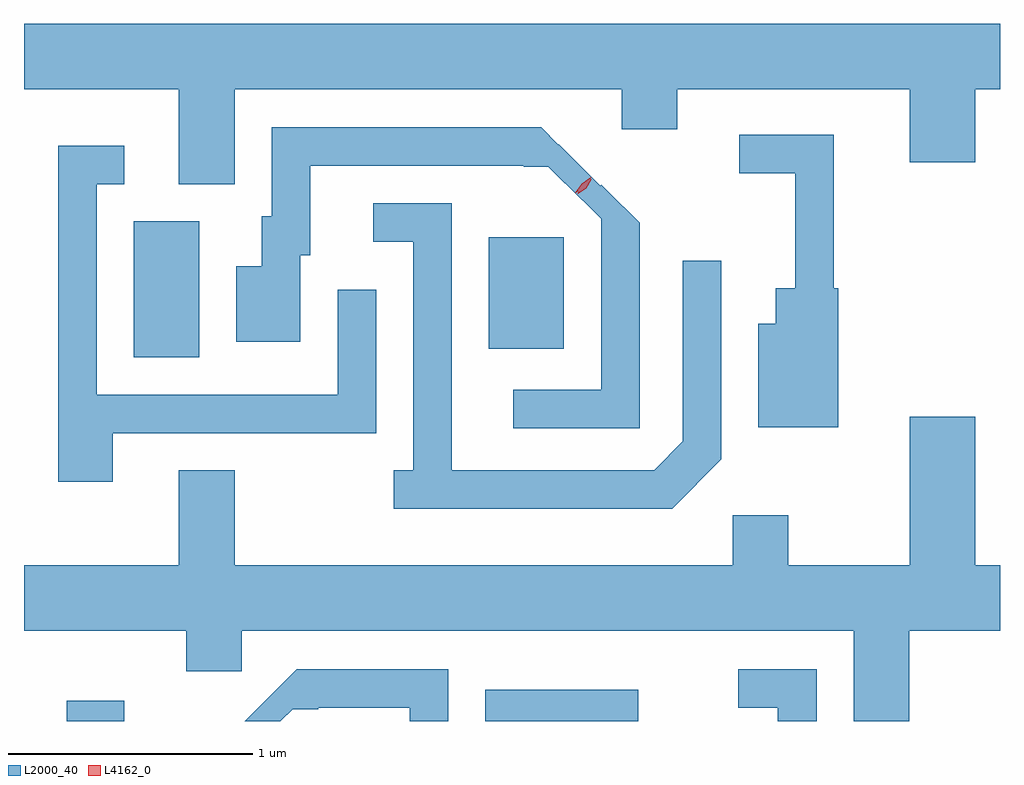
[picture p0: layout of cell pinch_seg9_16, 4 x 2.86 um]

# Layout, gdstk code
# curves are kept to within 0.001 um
import gdstk
lib = gdstk.Library(unit=1e-6, precision=1e-09)
def R(c, l, rs):  # rectangles x0, y0, x1, y1
    for r in rs: c.add(gdstk.rectangle(r[:2], r[2:], *l))
def P(c, l, *ps):  # polygons
    for p in ps: c.add(gdstk.Polygon(p, *l))
L2000_40 = (2000, 40)
L4162_0 = (4162, 0)

pinch_seg9_16 = lib.new_cell('pinch_seg9_16')
R(pinch_seg9_16, L2000_40, [(1030.801,2011.425,1031.037,2011.509), (1032.516,2011.425,1033.144,2011.554), (1031.076,2012.916,1031.344,2013.474), (1032.531,2012.951,1032.839,2013.409)])
P(pinch_seg9_16, L2000_40, [(1031.489,2014.016),(1033.076,2014.016),(1033.076,2013.851),(1033.304,2013.851),(1033.304,2014.016),(1034.256,2014.016),(1034.256,2013.716),(1034.524,2013.716),(1034.524,2014.016),(1034.626,2014.016),(1034.626,2014.284),(1030.626,2014.284),(1030.626,2014.016),(1031.261,2014.016),(1031.261,2013.626),(1031.489,2013.626)],
  [(1033.149,2013.469),(1033.085,2013.533),(1033.083,2013.532),(1032.992,2013.623),(1032.987,2013.619),(1032.745,2013.859),(1031.641,2013.859),(1031.641,2013.494),(1031.601,2013.494),(1031.601,2013.289),(1031.496,2013.289),(1031.496,2012.981),(1031.759,2012.981),(1031.759,2013.336),(1031.799,2013.336),(1031.799,2013.701),(1032.675,2013.701),(1032.675,2013.697),(1032.775,2013.697),(1032.842,2013.63),(1032.843,2013.632),(1032.992,2013.484),(1032.991,2012.784),(1032.632,2012.784),(1032.632,2012.626),(1033.149,2012.626)],
  [(1033.964,2013.199),(1033.944,2013.199),(1033.944,2013.829),(1033.558,2013.829),(1033.558,2013.671),(1033.786,2013.671),(1033.786,2013.199),(1033.706,2013.199),(1033.706,2013.054),(1033.636,2013.054),(1033.636,2012.631),(1033.964,2012.631)],
  [(1030.989,2012.606),(1032.069,2012.606),(1032.069,2013.193),(1031.911,2013.193),(1031.911,2012.764),(1030.924,2012.764),(1030.924,2013.626),(1031.037,2013.626),(1031.037,2013.784),(1030.766,2013.784),(1030.766,2012.406),(1030.989,2012.406)],
  [(1033.484,2012.499),(1033.484,2013.313),(1033.326,2013.313),(1033.326,2012.572),(1033.209,2012.454),(1032.379,2012.454),(1032.379,2013.549),(1032.058,2013.549),(1032.058,2013.391),(1032.221,2013.391),(1032.221,2012.454),(1032.142,2012.454),(1032.142,2012.296),(1033.282,2012.296)],
  [(1034.254,2011.796),(1034.626,2011.796),(1034.626,2012.064),(1034.524,2012.064),(1034.524,2012.674),(1034.256,2012.674),(1034.256,2012.064),(1033.759,2012.064),(1033.759,2012.269),(1033.531,2012.269),(1033.531,2012.064),(1031.489,2012.064),(1031.489,2012.454),(1031.261,2012.454),(1031.261,2012.064),(1030.626,2012.064),(1030.626,2011.796),(1031.291,2011.796),(1031.291,2011.631),(1031.519,2011.631),(1031.519,2011.796),(1034.026,2011.796),(1034.026,2011.425),(1034.254,2011.425)],
  [(1031.727,2011.475),(1031.831,2011.475),(1031.831,2011.481),(1032.206,2011.481),(1032.206,2011.425),(1032.364,2011.425),(1032.364,2011.639),(1031.744,2011.639),(1031.53,2011.425),(1031.677,2011.425)],
  [(1033.874,2011.639),(1033.553,2011.639),(1033.553,2011.481),(1033.716,2011.481),(1033.716,2011.425),(1033.874,2011.425)])
P(pinch_seg9_16, L4162_0, [(1032.886,2013.59),(1032.886,2013.591),(1032.911,2013.629),(1032.949,2013.654),(1032.95,2013.654),(1032.95,2013.654),(1032.925,2013.615),(1032.886,2013.59)],
  [(1032.896,2013.588),(1032.896,2013.589),(1032.916,2013.624),(1032.949,2013.646),(1032.95,2013.646),(1032.95,2013.645),(1032.93,2013.61),(1032.897,2013.588)])

lib.write_gds('pinch_seg9_16.gds')
